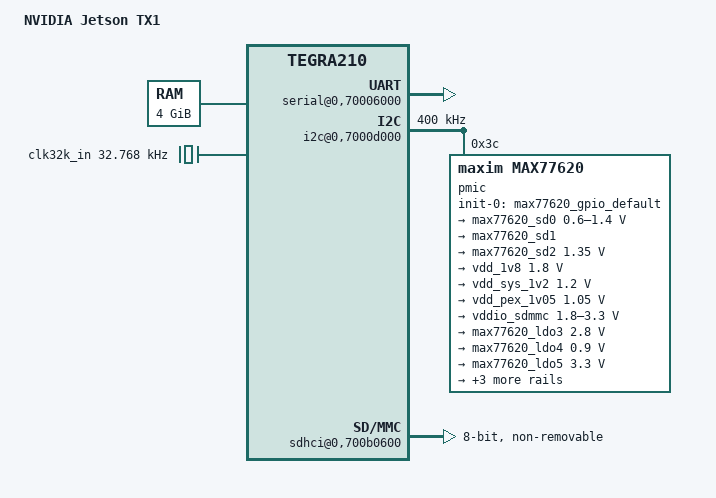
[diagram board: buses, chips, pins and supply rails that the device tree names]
#include "tegra210.dtsi"

/ {
	model = "NVIDIA Jetson TX1";
	compatible = "nvidia,p2180", "nvidia,tegra210";

	aliases {
		rtc0 = "/i2c@0,7000d000/pmic@3c";
		rtc1 = "/rtc@0,7000e000";
		serial0 = &uarta;
	};

	memory {
		device_type = "memory";
		reg = <0x0 0x80000000 0x1 0x0>;
	};

	/* debug port */
	serial@0,70006000 {
		status = "okay";
	};

	i2c@0,7000d000 {
		status = "okay";
		clock-frequency = <400000>;

		pmic: pmic@3c {
			compatible = "maxim,max77620";
			reg = <0x3c>;
			interrupts = <GIC_SPI 86 IRQ_TYPE_LEVEL_HIGH>;

			#interrupt-cells = <2>;
			interrupt-controller;

			#gpio-cells = <2>;
			gpio-controller;

			maxim,enable-clock32k-out;

			maxim,system-pmic-power-off;

			maxim,hot-die-threshold-temp = <110000>;
			#thermal-sensor-cells = <0>;

			pinctrl-names = "default";
			pinctrl-0 = <&max77620_default>;

			gpio-init-names = "default";
			gpio-init-0 = <&max77620_gpio_default>;

			max77620_default: pinmux@0 {
				pin_gpio0 {
					pins = "gpio0";
					function = "gpio";
				};

				pin_gpio1 {
					pins = "gpio1";
					function = "fps-out";
					drive-push-pull = <1>;
					maxim,fps-source = <0>;
					maxim,fps-power-up-period = <7>;
					maxim,fps-power-down-period = <0>;
				};

				pin_gpio2 {
					pins = "gpio2", "gpio3";
					function = "fps-out";
					drive-open-drain = <1>;
					maxim,fps-source = <0>;
				};

				pin_gpio4 {
					pins = "gpio4";
					function = "32k-out1";
				};

				pin_gpio5_6_7 {
					pins = "gpio5", "gpio6", "gpio7";
					function = "gpio";
					drive-push-pull = <1>;
				};
			};

			max77620_gpio_default: gpio_default {
				gpio-output-high = <2>;
			};

			watchdog {
				maxim,wdt-timeout = <16>;
				maxim,wdt-clear-time = <13>;
				status = "disabled";
				dt-override-status-odm-data = <0x00020000 0x00020000>;
			};

			fps {
				#address-cells = <1>;
				#size-cells = <0>;
				fps@0 {
					reg = <0>;
					maxim,fps-time-period = <5120>;
					maxim,fps-enable-input = <0>;
				};

				fps@1 {
					reg = <1>;
					maxim,fps-time-period = <5120>;
					maxim,fps-enable-input = <1>;
					maxim,enable-sleep;
				};

				fps@2 {
					reg = <2>;
					maxim,fps-enable-input = <0>;
				};
			};

			backup-battery {
				maxim,backup-battery-charging-current = <100>;
				maxim,backup-battery-charging-voltage = <3000000>;
				maxim,backup-battery-output-resister = <100>;
			};

			regulators {
				in-ldo0-1-supply = <&max77620_sd2>;
				in-ldo7-8-supply = <&max77620_sd2>;
				in-sd3-supply = <&vdd_5v0_sys>;

				max77620_sd0: sd0 {
					regulator-name = "VDD_SOC";
					regulator-min-microvolt = <600000>;
					regulator-max-microvolt = <1400000>;
					regulator-always-on;
					regulator-boot-on;
					maxim,fps-source = <1>;
					regulator-init-mode = <2>;

					regulator-enable-ramp-delay = <146>;
					regulator-disable-ramp-delay = <4080>;
					regulator-ramp-delay = <27500>;
					regulator-ramp-delay-scale = <300>;
				};

				max77620_sd1: sd1 {
					regulator-name = "VDD_DDR_1V1_PMIC";
					regulator-always-on;
					regulator-boot-on;
					regulator-init-mode = <2>;
					maxim,fps-source = <0>;

					regulator-enable-ramp-delay = <130>;
					regulator-disable-ramp-delay = <145800>;
					regulator-ramp-delay = <27500>;
					regulator-ramp-delay-scale = <300>;
				};

				max77620_sd2: sd2 {
					regulator-name = "VDD_PRE_REG_1V35";
					regulator-min-microvolt = <1350000>;
					regulator-max-microvolt = <1350000>;
					maxim,fps-source = <1>;

					regulator-enable-ramp-delay = <176>;
					regulator-disable-ramp-delay = <32000>;
					regulator-ramp-delay = <27500>;
					regulator-ramp-delay-scale = <350>;
				};

				vdd_1v8: sd3 {
					regulator-name = "VDD_1V8";
					regulator-min-microvolt = <1800000>;
					regulator-max-microvolt = <1800000>;
					regulator-always-on;
					regulator-boot-on;
					maxim,fps-source = <0>;
					regulator-init-mode = <2>;

					regulator-enable-ramp-delay = <242>;
					regulator-disable-ramp-delay = <118000>;
					regulator-ramp-delay = <27500>;
					regulator-ramp-delay-scale = <360>;
				};

				vdd_sys_1v2: ldo0 {
					regulator-name = "AVDD_SYS_1V2";
					regulator-min-microvolt = <1200000>;
					regulator-max-microvolt = <1200000>;
					regulator-always-on;
					regulator-boot-on;
					maxim,fps-source = <3>;

					regulator-enable-ramp-delay = <26>;
					regulator-disable-ramp-delay = <626>;
					regulator-ramp-delay = <100000>;
					regulator-ramp-delay-scale = <200>;
				};

				vdd_pex_1v05: ldo1 {
					regulator-name = "VDD_PEX_1V05";
					regulator-min-microvolt = <1050000>;
					regulator-max-microvolt = <1050000>;
					maxim,fps-source = <1>;

					regulator-enable-ramp-delay = <22>;
					regulator-disable-ramp-delay = <630>;
					regulator-ramp-delay = <100000>;
					regulator-ramp-delay-scale = <200>;
				};

				vddio_sdmmc: ldo2 {
					regulator-name = "VDDIO_SDMMC";
					regulator-min-microvolt = <1800000>;
					regulator-max-microvolt = <3300000>;
					maxim,fps-source = <3>;

					regulator-enable-ramp-delay = <62>;
					regulator-disable-ramp-delay = <650>;
					regulator-ramp-delay = <100000>;
					regulator-ramp-delay-scale = <200>;
				};

				max77620_ldo3: ldo3 {
					regulator-name = "VDD_CAM_HV";
					regulator-min-microvolt = <2800000>;
					regulator-max-microvolt = <2800000>;
					maxim,fps-source = <3>;

					regulator-enable-ramp-delay = <50>;
					regulator-disable-ramp-delay = <1110>;
					regulator-ramp-delay = <100000>;
					regulator-ramp-delay-scale = <200>;
				};

				max77620_ldo4: ldo4 {
					regulator-name = "VDD_RTC";
					regulator-min-microvolt = <900000>;
					regulator-max-microvolt = <900000>;
					regulator-always-on;
					regulator-boot-on;
					maxim,fps-source = <0>;

					regulator-enable-ramp-delay = <22>;
					regulator-disable-ramp-delay = <610>;
					regulator-ramp-delay = <100000>;
					regulator-ramp-delay-scale = <200>;
				};

				max77620_ldo5: ldo5 {
					regulator-name = "VDD_TS_HV";
					regulator-min-microvolt = <3300000>;
					regulator-max-microvolt = <3300000>;
					maxim,fps-source = <3>;

					regulator-enable-ramp-delay = <62>;
					regulator-disable-ramp-delay = <640>;
					regulator-ramp-delay = <100000>;
					regulator-ramp-delay-scale = <200>;
				};

				max77620_ldo6: ldo6 {
					regulator-name = "VDD_TS_1V8";
					regulator-min-microvolt = <1800000>;
					regulator-max-microvolt = <1800000>;
					regulator-always-on;
					regulator-boot-on;
					maxim,fps-source = <0>;
					maxim,fps-power-up-period = <7>;
					maxim,fps-power-down-period = <0>;

					regulator-enable-ramp-delay = <36>;
					regulator-disable-ramp-delay = <674>;
					regulator-ramp-delay = <100000>;
					regulator-ramp-delay-scale = <200>;
				};

				avdd_1v05_pll: ldo7 {
					regulator-name = "AVDD_1V05_PLL";
					regulator-min-microvolt = <1050000>;
					regulator-max-microvolt = <1050000>;
					regulator-always-on;
					regulator-boot-on;
					maxim,fps-source = <1>;

					regulator-enable-ramp-delay = <24>;
					regulator-disable-ramp-delay = <2768>;
					regulator-ramp-delay = <100000>;
					regulator-ramp-delay-scale = <200>;
				};

				avdd_1v05: ldo8 {
					regulator-name = "AVDD_SATA_HDMI_DP_1V05";
					regulator-min-microvolt = <1050000>;
					regulator-max-microvolt = <1050000>;
					maxim,fps-source = <1>;

					regulator-enable-ramp-delay = <22>;
					regulator-disable-ramp-delay = <1160>;
					regulator-ramp-delay = <100000>;
					regulator-ramp-delay-scale = <200>;
				};
			};
		};
	};

	pmc@0,7000e400 {
		nvidia,invert-interrupt;

		i2c-thermtrip {
			nvidia,i2c-controller-id = <4>;
			nvidia,bus-addr = <0x3c>;
			nvidia,reg-addr = <0x41>;
			nvidia,reg-data = <0x02>;
		};
	};

	/* eMMC */
	sdhci@0,700b0600 {
		status = "okay";
		bus-width = <8>;
		non-removable;
	};

	clocks {
		compatible = "simple-bus";
		#address-cells = <1>;
		#size-cells = <0>;

		clk32k_in: clock@0 {
			compatible = "fixed-clock";
			reg = <0>;
			#clock-cells = <0>;
			clock-frequency = <32768>;
		};
	};
};
